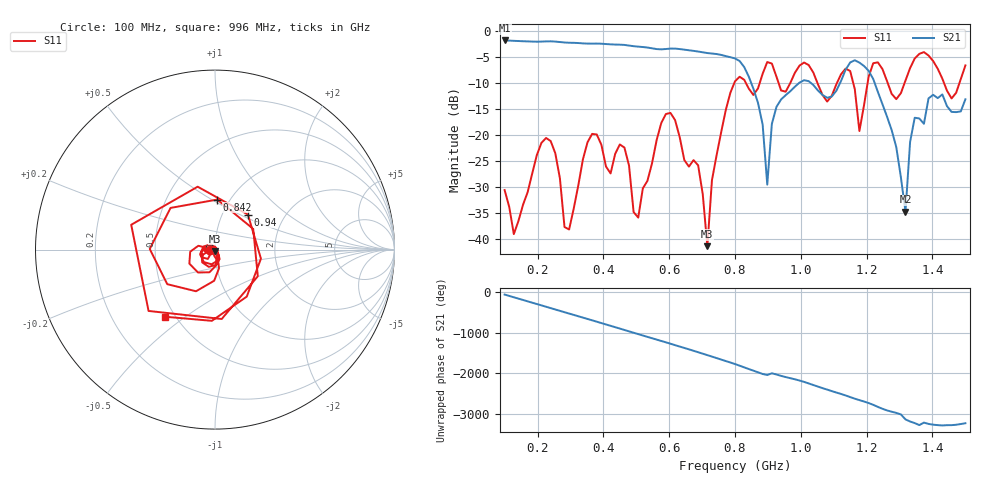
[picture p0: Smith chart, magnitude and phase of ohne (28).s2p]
! NanoVNA-App
! Date: 2025-09-25 14:21:01
! Start: 100MHz Stop: 1,5GHz Points: 101
! S-Parameter data: F S11 S21 S12 S22
# Hz S RI R 50
!  Frequency  S11_Real  S11_Imag  S21_Real  S21_Imag  S12_Real  S12_Imag  S22_Real  S22_Imag
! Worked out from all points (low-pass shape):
!   101 points, 100 MHz to 1.5 GHz, reference 50 ohm
!   highest |S21| = -1.79 dB at 100 MHz (marker M1); lowest = -34.8 dB at 1.318 GHz (marker M2)
!   |S21| within 3 dB of the highest: start of sweep to 770.8 MHz
!   lowest |S11| = -41.5 dB at 716 MHz (marker M3), VSWR 1.02, Z = 49.8 - j0.826 ohm
!   |S11| at or under -10 dB: start of sweep to 797.9 MHz; 833.1 MHz to 875.1 MHz (42.03 MHz wide, 4.92 % of centre); 1.051 GHz to 1.11 GHz (59.28 MHz wide, 5.49 % of centre) (the widest 3 of 7)
!   S12 and S22 are empty: the file has one direction only
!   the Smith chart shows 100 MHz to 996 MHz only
!   S11 on the Smith chart (normalised r, x): 100 MHz: 0.94, -0.01; 842 MHz: 0.88, +0.53; 940 MHz: 1.32, +0.55; 996 MHz: 0.44, -0.42
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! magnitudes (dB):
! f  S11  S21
! 100 MHz  -30.6  -1.8
! 128 MHz  -39.1  -1.9
! 226 MHz  -20.6  -2.0
! 296 MHz  -38.2  -2.2
! 338 MHz  -24.7  -2.4
! 464 MHz  -22.4  -2.7
! 506 MHz  -35.9  -3.0
! 576 MHz  -17.7  -3.5
! 688 MHz  -25.9  -3.9
! 716 MHz  -41.5  -4.2
! 800 MHz  -9.7  -5.3
! 842 MHz  -11.1  -8.8
! 898 MHz  -6.0  -29.6
! 940 MHz  -11.4  -13.2
! 996 MHz  -6.6  -9.9
! 1.038 GHz  -8.0  -10.4
! 1.178 GHz  -19.3  -6.1
! 1.22 GHz  -6.2  -9.2
! 1.276 GHz  -12.1  -19.1
! 1.318 GHz  -9.5  -34.8
! 1.346 GHz  -5.3  -16.7
! 1.5 GHz  -6.6  -13.1
